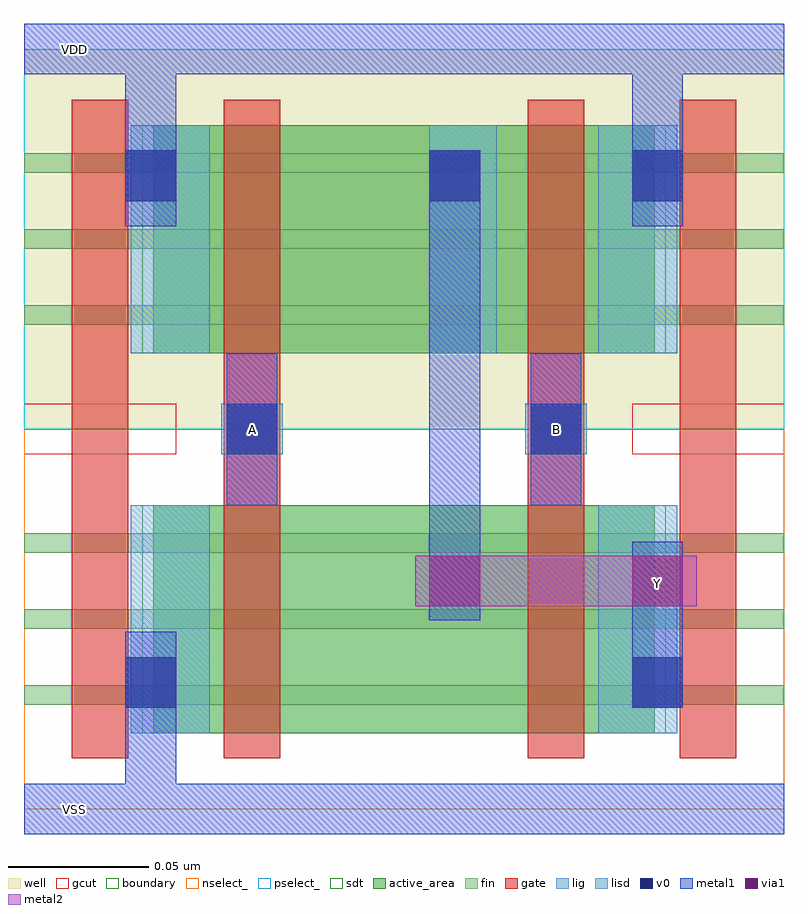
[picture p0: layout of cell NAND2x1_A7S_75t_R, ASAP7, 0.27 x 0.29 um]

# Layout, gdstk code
import gdstk
lib = gdstk.Library(unit=1e-6, precision=2.5e-10)
def R(c, l, rs):  # rectangles x0, y0, x1, y1
    for r in rs: c.add(gdstk.rectangle(r[:2], r[2:], *l))
def A(c, l, x, y, w, h, nx, ny, dx, dy):  # array of equal rectangles
    R(c, l, [(x+i*dx, y+j*dy, x+i*dx+w, y+j*dy+h) for i in range(nx) for j in range(ny)])
well = (1, 0)
fin = (2, 0)
gate = (7, 0)
gcut = (10, 0)
active_area = (11, 0)
nselect_ = (12, 0)
pselect_ = (13, 0)
lig = (16, 0)
lisd = (17, 0)
v0 = (18, 0)
metal1 = (19, 0)
metal2 = (20, 0)
via1 = (21, 0)
sdt = (88, 0)
boundary = (100, 0)

nand2x1_a7s_75t_r = lib.new_cell('NAND2x1_A7S_75t_R')
R(nand2x1_a7s_75t_r, well, [(0,0.135,0.27,0.27)])
A(nand2x1_a7s_75t_r, fin, 0, 0.037, 0.27, 0.007, 1, 3, 0, 0.027)
A(nand2x1_a7s_75t_r, fin, 0, 0.172, 0.27, 0.007, 1, 3, 0, 0.027)
R(nand2x1_a7s_75t_r, gate, [(0.017,0.018,0.037,0.252), (0.071,0.018,0.091,0.252), (0.179,0.018,0.199,0.252), (0.233,0.018,0.253,0.252)])
R(nand2x1_a7s_75t_r, gcut, [(0,0.126,0.054,0.144), (0.216,0.126,0.27,0.144)])
R(nand2x1_a7s_75t_r, active_area, [(0.046,0.027,0.224,0.108), (0.046,0.162,0.224,0.243)])
R(nand2x1_a7s_75t_r, nselect_, [(0,0,0.27,0.135)])
R(nand2x1_a7s_75t_r, pselect_, [(0,0.135,0.27,0.27)])
R(nand2x1_a7s_75t_r, lig, [(0.07,0.126,0.092,0.144), (0.178,0.126,0.2,0.144)])
R(nand2x1_a7s_75t_r, lisd, [(0.038,0.027,0.066,0.108), (0.204,0.027,0.232,0.108), (0.038,0.162,0.066,0.243), (0.144,0.162,0.168,0.243), (0.204,0.162,0.232,0.243)])
R(nand2x1_a7s_75t_r, v0, [(0.036,0.036,0.054,0.054), (0.216,0.036,0.234,0.054), (0.072,0.126,0.09,0.144), (0.18,0.126,0.198,0.144), (0.036,0.216,0.054,0.234), (0.144,0.216,0.162,0.234), (0.216,0.216,0.234,0.234)])
R(nand2x1_a7s_75t_r, metal1, [(0,-0.009,0.27,0.009), (0.036,0.009,0.054,0.063), (0.216,0.036,0.234,0.095), (0.144,0.067,0.162,0.234), (0.072,0.108,0.09,0.162), (0.18,0.108,0.198,0.162), (0.036,0.207,0.054,0.261), (0.216,0.207,0.234,0.261), (0,0.261,0.27,0.279)])
R(nand2x1_a7s_75t_r, metal2, [(0.139,0.072,0.239,0.09)])
R(nand2x1_a7s_75t_r, via1, [(0.144,0.072,0.162,0.09), (0.216,0.072,0.234,0.09)])
R(nand2x1_a7s_75t_r, sdt, [(0.042,0.027,0.066,0.108), (0.204,0.027,0.228,0.108), (0.042,0.162,0.066,0.243), (0.144,0.162,0.168,0.243), (0.204,0.162,0.228,0.243)])
R(nand2x1_a7s_75t_r, boundary, [(0,0,0.27,0.27)])
nand2x1_a7s_75t_r.add(gdstk.Label('VSS', (0.018,0), layer=19, texttype=251))
nand2x1_a7s_75t_r.add(gdstk.Label('VDD', (0.018,0.27), layer=19, texttype=251))
nand2x1_a7s_75t_r.add(gdstk.Label('A', (0.081,0.135), layer=19, texttype=251))
nand2x1_a7s_75t_r.add(gdstk.Label('B', (0.189,0.135), layer=19, texttype=251))
nand2x1_a7s_75t_r.add(gdstk.Label('Y', (0.225,0.08), layer=19, texttype=251))

lib.write_gds('NAND2x1_A7S_75t_R.gds')
